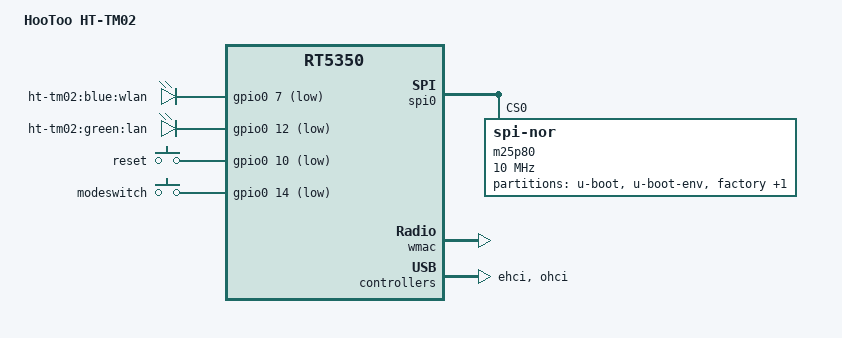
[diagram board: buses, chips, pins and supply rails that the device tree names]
/dts-v1/;

#include "rt5350.dtsi"

#include <dt-bindings/gpio/gpio.h>
#include <dt-bindings/input/input.h>

/ {
	compatible = "hootoo,ht-tm02", "ralink,rt5350-soc";
	model = "HooToo HT-TM02";

	aliases {
		led-boot = &led_wlan;
		led-failsafe = &led_wlan;
		led-running = &led_wlan;
		led-upgrade = &led_wlan;
	};

	leds {
		compatible = "gpio-leds";

		led_wlan: wlan {
			label = "ht-tm02:blue:wlan";
			gpios = <&gpio0 7 GPIO_ACTIVE_LOW>;
		};

		lan {
			label = "ht-tm02:green:lan";
			gpios = <&gpio0 12 GPIO_ACTIVE_LOW>;
		};
	};

	keys {
		compatible = "gpio-keys-polled";
		poll-interval = <20>;

		reset {
			label = "reset";
			gpios = <&gpio0 10 GPIO_ACTIVE_LOW>;
			linux,code = <KEY_RESTART>;
		};

		modeswitch {
			label = "modeswitch";
			gpios = <&gpio0 14 GPIO_ACTIVE_LOW>;
			linux,code = <BTN_0>;
			linux,input-type = <EV_SW>;
		};
	};
};

&gpio0 {
	status = "okay";
};

&spi0 {
	status = "okay";

	m25p80@0 {
		compatible = "jedec,spi-nor";
		reg = <0>;
		spi-max-frequency = <10000000>;

		partitions {
			compatible = "fixed-partitions";
			#address-cells = <1>;
			#size-cells = <1>;

			partition@0 {
				label = "u-boot";
				reg = <0x0 0x30000>;
				read-only;
			};

			partition@30000 {
				label = "u-boot-env";
				reg = <0x30000 0x10000>;
				read-only;
			};

			factory: partition@40000 {
				label = "factory";
				reg = <0x40000 0x10000>;
				read-only;
			};

			partition@50000 {
				compatible = "denx,uimage";
				label = "firmware";
				reg = <0x50000 0x7b0000>;
			};
		};
	};
};

&state_default {
	gpio {
		ralink,group = "i2c", "jtag", "uartf";
		ralink,function = "gpio";
	};
};

&ethernet {
	mtd-mac-address = <&factory 0x28>;
};

&esw {
	mediatek,portmap = <0x10>;
	mediatek,portdisable = <0x2f>;
};

&wmac {
	ralink,mtd-eeprom = <&factory 0>;
};

&ehci {
	status = "okay";
};

&ohci {
	status = "okay";
};
